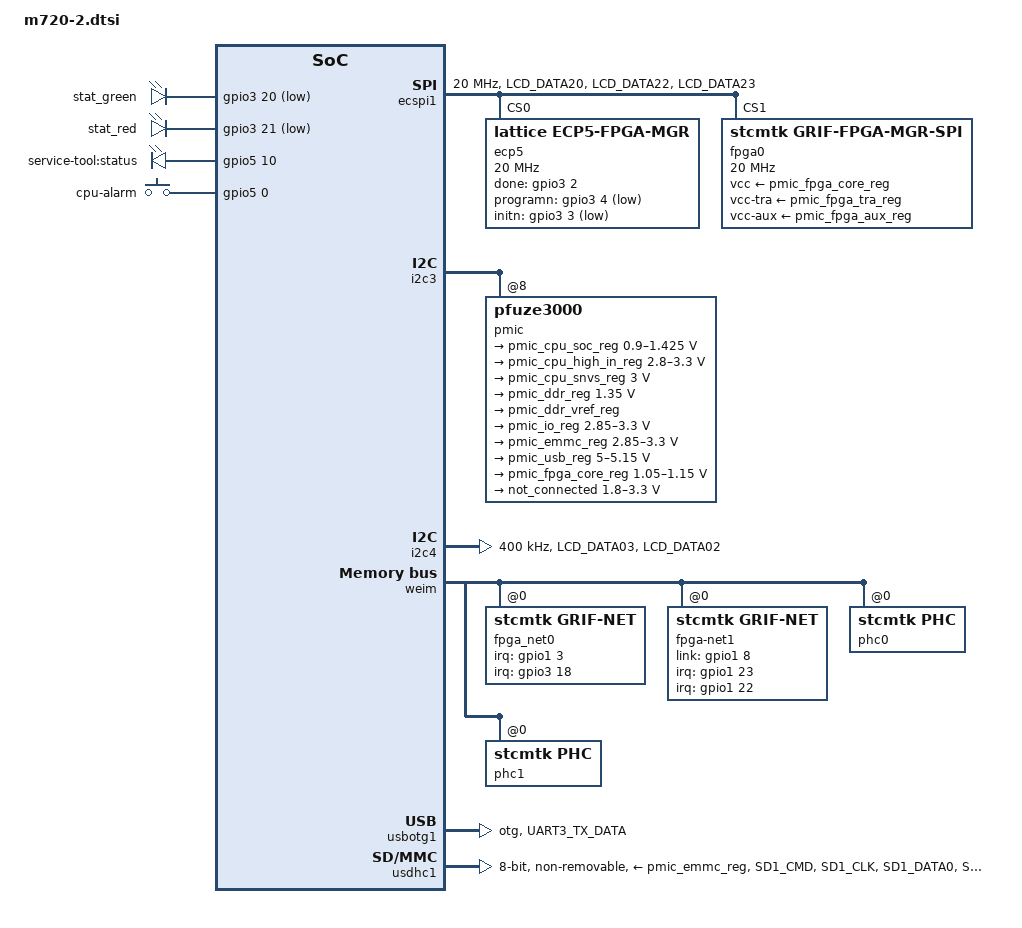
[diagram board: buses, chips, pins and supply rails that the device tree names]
/dts-v1/;

#include "m720.dtsi"

/ {
	leds {
		green_led {
			pinctrl-names = "default";
			pinctrl-0 = <&pinctrl_green_led>;
			label = "stat_green";
			linux,default-trigger = "heartbeat";
			gpios = <&gpio3 20 GPIO_ACTIVE_LOW>;
			default-state = "off";
		};

		red_led {
			pinctrl-names = "default";
			pinctrl-0 = <&pinctrl_red_led>;
			label = "stat_red";
			linux,default-trigger = "none";
			gpios = <&gpio3 21 GPIO_ACTIVE_LOW>;
			default-state = "off";
			panic-indicator;
		};

		service_led {
			pinctrl-names = "default";
			pinctrl-0 = <&pinctrl_service_led>;
			label = "service-tool:status";
			linux,default-trigger = "default-on";
			gpios = <&gpio5 10 GPIO_ACTIVE_HIGH>;
			default-state = "on";
		};
	};

	key {
		compatible = "gpio-keys";

		alarm {
			pinctrl-names = "default";
			pinctrl-0 = <&pinctrl_alarm>;
			label = "cpu-alarm";
			linux,code = <KEY_WAKEUP>;
			gpios = <&gpio5 0 GPIO_ACTIVE_HIGH>;
			wakeup-source;
		};
	};

	fpgaio: fpga-io {
		compatible = "stcmtk,grif-io";
		target-fpga = <&fpga0>;
		status = "okay";
	};

	ecp5-hwmon {
		compatible = "lattice,ecp5-hwmon";
		target-fpga = <&fpga0>;
		label = "internal ECP5 temperature";
	};

	phc_mux: grif-phc-mux {
                compatible = "stcmtk,phc-mux";
                target-fpga = <&fpga0>;
        };
};

&reg_arm {
	vin-supply = <&pmic_cpu_soc_reg>;
	regulator-allow-bypass;
};

&reg_soc {
	vin-supply = <&pmic_cpu_soc_reg>;
	regulator-allow-bypass;
};

&reg_3p0 {
	vin-supply = <&pmic_cpu_snvs_reg>;
	regulator-allow-bypass;
};

&ecspi1 {
	pinctrl-names = "default";
	pinctrl-0 = <&pinctrl_ecspi1>;
	clock-frequency = <20000000>;
	status = "okay";
	fsl,spi-num-chipselects = <2>;
	/* Actually there is no CS muxed to the pin  because we need to
	 * drive CS manually from the Lattice ECP5 FPGA driver
	 * see pinmux definition for details
	 */
	cs-gpios = <0 0>;

	ecp5: ecp5@0 {
		pinctrl-names = "default";
		pinctrl-0 = <&pinctrl_ecp5 &pinctrl_ecp5_spi_cs>;
		compatible = "lattice,ecp5-fpga-mgr";
		status = "okay";
		spi-max-frequency = <20000000>;
		reg = <0>;
		cs-gpios = <&gpio3 26 GPIO_ACTIVE_LOW>;
		done-gpios = <&gpio3 2 GPIO_ACTIVE_HIGH>;
		programn-gpios = <&gpio3 4 GPIO_ACTIVE_LOW>;
		initn-gpios = <&gpio3 3 GPIO_ACTIVE_LOW>;
	};

	fpga0: fpga@1 {
		compatible = "stcmtk,grif-fpga-mgr-spi";
		fpga-name = "Main FPGA";
		spi-max-frequency = <20000000>;
		reg = <1>;
		status = "okay";
		cs-gpios = <&gpio3 26 GPIO_ACTIVE_HIGH>;
		ecp5-fpga-mgr = <&ecp5>;
		vcc-supply = <&pmic_fpga_core_reg>;
		vcc-tra-supply = <&pmic_fpga_tra_reg>;
		vcc-aux-supply = <&pmic_fpga_aux_reg>;
	};
};

/* System bus */
&i2c3 {
	pmic: pfuze3000@8 {
		regulators {
			/* 1V275_IMX_PMIC - test point P4 */
			pmic_cpu_soc_reg: sw1a {
				regulator-name = "pmic_cpu_soc_in";
				regulator-min-microvolt = <900000>;
				regulator-max-microvolt = <1425000>;
				regulator-boot-on;
				regulator-always-on;
			};

			/* CPU_HIGH_IN_3.3V_PMIC */
			pmic_cpu_high_in_reg: vldo3 {
				regulator-name = "pmic_cpu_high_in";
				regulator-min-microvolt = <2800000>;
				regulator-max-microvolt = <3300000>;
				regulator-boot-on;
				regulator-always-on;
			};

			/* CPU_SNVS_IN_3.3V_PMIC */
			pmic_cpu_snvs_reg: vsnvs {
				regulator-name = "pmic_cpu_snvs";
				regulator-min-microvolt = <3000000>;
				regulator-max-microvolt = <3000000>;
				regulator-boot-on;
				regulator-always-on;
			};

			/* 1V35_DDR_PMIC - test point P2 */
			pmic_ddr_reg: sw3 {
				regulator-name = "ddr_supply";
				regulator-min-microvolt = <1350000>;
				regulator-max-microvolt = <1350000>;
				regulator-boot-on;
				regulator-always-on;
			};

			/* VREF_DDR_PMIC - test point P1 */
			pmic_ddr_vref_reg: vrefddr {
				regulator-name = "ddr_ref";
				regulator-boot-on;
				regulator-always-on;
			};

			/* 3V3_IO */
			pmic_io_reg: v33 {
				regulator-name = "io_supply";
				regulator-min-microvolt = <2850000>;
				regulator-max-microvolt = <3300000>;
				regulator-boot-on;
				regulator-always-on;
			};

			/* 3V3_EMMC_PMIC */
			pmic_emmc_reg: vccsd {
				regulator-name = "emmc_supply";
				regulator-min-microvolt = <2850000>;
				regulator-max-microvolt = <3300000>;
				regulator-always-on;
			};

			/* 5V_PMIC - test point P3 */
			pmic_usb_reg: swbst {
				regulator-name = "cpu_usb";
				regulator-min-microvolt = <5000000>;
				regulator-max-microvolt = <5150000>;
				regulator-boot-on;
				/* CPU USB VBUS line does not connected to VBUS
				 * line on SSFP USB OTG port. So USB OTG can't
				 * be supplied from HOST in device mode. This
				 * regulator provides 5V supply for CPU VBUS and
				 * has to be always on to prevent USB OTG
				 * glitches. */
				regulator-always-on;
			};

			/* 1V1_FPGA - test point P7 */
			pmic_fpga_core_reg: sw1b {
				regulator-name = "fpga_vcc_vcca";
				regulator-min-microvolt = <1050000>;
				regulator-max-microvolt = <1150000>;
				regulator-boot-on;
			};

			/* Not connected */
			vldo4 {
				regulator-name = "not_connected";
				regulator-min-microvolt = <1800000>;
				regulator-max-microvolt = <3300000>;
			};
		};
	};
};

	/* NT25L90 laser driver bus */
&i2c4 {
	clock-frequency = <400000>;
	pinctrl-names = "default";
	pinctrl-0 = <&pinctrl_i2c4>;
	status = "okay";
};

&iomuxc {
	stcmtk-smart-sfp {
		pinctrl_hog_1: hoggrp-1 {
			fsl,pins = <
				/* ???: Not used by drivers, only for exporting to userspace */
				MX6UL_PAD_GPIO1_IO02__GPIO1_IO02 	0x000010B0 /* SDMA INT */
				/*MX6UL_PAD_GPIO1_IO02__SDMA_EXT_EVENT00  0x000010B0*/ /* SDMA INT */
			>;
		};

		pinctrl_net1: net1grp {
			fsl,pins = <
				MX6UL_PAD_GPIO1_IO03__GPIO1_IO03	0x000010B0 /* FPGA_INT 0 */
				MX6UL_PAD_LCD_DATA13__GPIO3_IO18	0x000010B0 /* FPGA_INT 1 */
				MX6UL_PAD_GPIO1_IO05__GPIO1_IO05	0x000010B0 /* FPGA_INT 2 */
			>;
		};

		pinctrl_net2: net2grp {
			fsl,pins = <
				MX6UL_PAD_UART2_RTS_B__GPIO1_IO23	0x000010B0 /* FPGA_INT 3 */
				MX6UL_PAD_UART2_CTS_B__GPIO1_IO22	0x000010B0 /* FPGA_INT 4 */
				MX6UL_PAD_GPIO1_IO08__GPIO1_IO08	0x000010B0 /* FPGA_INT 5 */
			>;
		};

		pinctrl_green_led: led1grp {
			fsl,pins = <
				MX6UL_PAD_LCD_DATA15__GPIO3_IO20	0x000010B0
			>;
		};

		pinctrl_red_led: led2grp {
			fsl,pins = <
				MX6UL_PAD_LCD_DATA16__GPIO3_IO21	0x000010B0
			>;
		};

		pinctrl_ecspi1: ecspi1grp {
			fsl,pins = <
			     /*
			      * This pin shoud be muxed in a separate group so that we can
			      * use it as a gpio. See below.
			      *
			      * MX6UL_PAD_LCD_DATA21__ECSPI1_SS0	0x000010A8
			      */
				MX6UL_PAD_LCD_DATA20__ECSPI1_SCLK	0x000010A8
				MX6UL_PAD_LCD_DATA22__ECSPI1_MOSI	0x000010A8
				MX6UL_PAD_LCD_DATA23__ECSPI1_MISO	0x000010A8
			>;
		};

		pinctrl_ecp5_spi_cs: ecp5-spi-cs-grp {
			/*
			 *  Here we mux PAD_LCD_DATA21__ECSPI1_SS0 (C16) to GPIO3_IO26 in place
			 *  of ECSPI1_SS0 to be able to drive CS. This is a workaround for
			 *  Lattice ECP5 FPGA Slave SPI programming algo, see Lattice
			 *  Programming Tools User Guide, ch. Slave SPI Embedded.
			 */
			fsl,pins = <
				MX6UL_PAD_LCD_DATA21__GPIO3_IO26	0x000010A8
			>;
		};

		pinctrl_ecp5: ecp5grp {
			fsl,pins = <
				MX6UL_PAD_LCD_HSYNC__GPIO3_IO02		0x000010B0 /* CPU_DONE */
				MX6UL_PAD_LCD_VSYNC__GPIO3_IO03		0x000010B0 /* CPU_INITN */
				MX6UL_PAD_LCD_RESET__GPIO3_IO04		0x000010B0 /* CPU_PROGRAMN */
			>;
		};

		pinctrl_i2c1: i2c1grp {
			fsl,pins = <
				MX6UL_PAD_UART4_RX_DATA__I2C1_SDA	0x4001B8B1
				MX6UL_PAD_UART4_TX_DATA__I2C1_SCL	0x4001B8B1
			>;
		};

		pinctrl_i2c3: i2c3grp {
			fsl,pins = <
				MX6UL_PAD_LCD_DATA01__I2C3_SCL		0x4001B8B1
				MX6UL_PAD_LCD_DATA00__I2C3_SDA		0x4001B8B1
			>;
		};

		pinctrl_i2c4: i2c4grp {
			fsl,pins = <
				MX6UL_PAD_LCD_DATA03__I2C4_SCL		0x4001B8B1
				MX6UL_PAD_LCD_DATA02__I2C4_SDA		0x4001B8B1
			>;
		};

		pinctrl_uart1: uart1grp {
			fsl,pins = <
				MX6UL_PAD_UART1_RX_DATA__UART1_DCE_RX	0x000010B0
				MX6UL_PAD_UART1_TX_DATA__UART1_DCE_TX	0x000010B0
			>;
		};

		pinctrl_emmc: emmcgrp {
			fsl,pins = <
				MX6UL_PAD_SD1_CMD__USDHC1_CMD		0x17059
				MX6UL_PAD_SD1_CLK__USDHC1_CLK		0x10059
				MX6UL_PAD_SD1_DATA0__USDHC1_DATA0	0x17059
				MX6UL_PAD_SD1_DATA1__USDHC1_DATA1	0x17059
				MX6UL_PAD_SD1_DATA2__USDHC1_DATA2	0x17059
				MX6UL_PAD_SD1_DATA3__USDHC1_DATA3	0x17059
				MX6UL_PAD_NAND_READY_B__USDHC1_DATA4	0x17059
				MX6UL_PAD_NAND_CE0_B__USDHC1_DATA5	0x17059
				MX6UL_PAD_NAND_CE1_B__USDHC1_DATA6	0x17059
				MX6UL_PAD_NAND_CLE__USDHC1_DATA7	0x17059
			>;
		};

		pinctrl_emmc_100: emmc_100grp {
			fsl,pins = <
				MX6UL_PAD_SD1_CMD__USDHC1_CMD		0x170b9
				MX6UL_PAD_SD1_CLK__USDHC1_CLK		0x100b9
				MX6UL_PAD_SD1_DATA0__USDHC1_DATA0	0x170b9
				MX6UL_PAD_SD1_DATA1__USDHC1_DATA1	0x170b9
				MX6UL_PAD_SD1_DATA2__USDHC1_DATA2	0x170b9
				MX6UL_PAD_SD1_DATA3__USDHC1_DATA3	0x170b9
				MX6UL_PAD_NAND_READY_B__USDHC1_DATA4	0x170b9
				MX6UL_PAD_NAND_CE0_B__USDHC1_DATA5	0x170b9
				MX6UL_PAD_NAND_CE1_B__USDHC1_DATA6	0x170b9
				MX6UL_PAD_NAND_CLE__USDHC1_DATA7	0x170b9
			>;
		};

		pinctrl_emmc_200: emmc_200grp {
			fsl,pins = <
				MX6UL_PAD_SD1_CMD__USDHC1_CMD		0x170f9
				MX6UL_PAD_SD1_CLK__USDHC1_CLK		0x100f9
				MX6UL_PAD_SD1_DATA0__USDHC1_DATA0	0x170f9
				MX6UL_PAD_SD1_DATA1__USDHC1_DATA1	0x170f9
				MX6UL_PAD_SD1_DATA2__USDHC1_DATA2	0x170f9
				MX6UL_PAD_SD1_DATA3__USDHC1_DATA3	0x170f9
				MX6UL_PAD_NAND_READY_B__USDHC1_DATA4	0x170f9
				MX6UL_PAD_NAND_CE0_B__USDHC1_DATA5	0x170f9
				MX6UL_PAD_NAND_CE1_B__USDHC1_DATA6	0x170f9
				MX6UL_PAD_NAND_CLE__USDHC1_DATA7	0x170f9
			>;
		};

		pinctrl_emmc_rst: emmc_rst_grp {
			fsl,pins = <
				MX6UL_PAD_GPIO1_IO04__USDHC1_RESET_B	0x17059
			/*	MX6UL_PAD_GPIO1_IO04__GPIO1_IO4		0x17059 */
			>;
		};

		pinctrl_weim: weimgrp {
			fsl,pins = <
				MX6UL_PAD_CSI_DATA00__EIM_AD00		0x000010E9
				MX6UL_PAD_CSI_DATA01__EIM_AD01		0x000010E9
				MX6UL_PAD_CSI_DATA02__EIM_AD02		0x000010E9
				MX6UL_PAD_CSI_DATA03__EIM_AD03		0x000010E9
				MX6UL_PAD_CSI_DATA04__EIM_AD04		0x000010E9
				MX6UL_PAD_CSI_DATA05__EIM_AD05		0x000010E9
				MX6UL_PAD_CSI_DATA06__EIM_AD06		0x000010E9
				MX6UL_PAD_CSI_DATA07__EIM_AD07		0x000010E9
				MX6UL_PAD_CSI_HSYNC__EIM_LBA_B		0x000010E9
				MX6UL_PAD_CSI_MCLK__EIM_CS0_B		0x000010E9
				MX6UL_PAD_CSI_PIXCLK__EIM_OE		0x000010E9
				MX6UL_PAD_CSI_VSYNC__EIM_RW		0x000010E9
				MX6UL_PAD_NAND_DATA00__EIM_AD08		0x000010E9
				MX6UL_PAD_NAND_DATA01__EIM_AD09		0x000010E9
				MX6UL_PAD_NAND_DATA02__EIM_AD10		0x000010E9
				MX6UL_PAD_NAND_DATA03__EIM_AD11		0x000010E9
				MX6UL_PAD_NAND_DATA04__EIM_AD12		0x000010E9
				MX6UL_PAD_NAND_DATA05__EIM_AD13		0x000010E9
				MX6UL_PAD_NAND_DATA06__EIM_AD14		0x000010E9
				MX6UL_PAD_NAND_DATA07__EIM_AD15		0x000010E9
				MX6UL_PAD_NAND_DQS__EIM_WAIT		0x000010E9
				MX6UL_PAD_NAND_WP_B__EIM_BCLK		0x000010E9
			>;
		};

		pinctrl_usbotg1: usbotg1grp {
			fsl,pins = <
				MX6UL_PAD_UART3_TX_DATA__ANATOP_OTG1_ID 0x00017059
			>;
		};

		pinctrl_userswitch: userswitchgrp {
			fsl,pins = <
				MX6UL_PAD_LCD_DATA10__GPIO3_IO15	0x000010B0
				MX6UL_PAD_LCD_DATA11__GPIO3_IO16	0x000010B0
			>;
		};
	};
};

&iomuxc_snvs {
	stcmtk-smart-sfp-snvs {
		pinctrl_service_led: snvs_service_led_grp {
			fsl,pins = <
				MX6UL_PAD_BOOT_MODE0__GPIO5_IO10	0x000128A0
			>;

		};

		pinctrl_alarm: snvs_alarm_grp {
			fsl,pins = <
				MX6UL_PAD_SNVS_TAMPER0__GPIO5_IO00	0x000110A0
			>;

		};
	};
};

&weim {
	fpga_net0: fpga-net0 {
		compatible = "stcmtk,grif-net";
		target-fpga = <&fpga0>;
		pinctrl-names = "default";
		pinctrl-0 = <&pinctrl_net1>;
		reg = <0 0x4000 0x8000>; /* EIM addr range for CPUBUF (port 0) */

		/* CS0 Configuration registers:
			CSxGCR1, CSxGCR2, CSxRCR1,
			CSxRCR2, CSxWCR1, CSxWCR2 */
		fsl,weim-cs-timing = <0x511104AF 0x00001000 0x04000000
				      0x00000000 0x01000000 0x00000000>;

		mac-address = [02 00 00 44 00 02];
		port-num = <0>;
		interrupts-extended = <&gpio1 3  IRQ_TYPE_EDGE_RISING>, /* FPGA_INT0 - TX */
				      <&gpio3 18 IRQ_TYPE_LEVEL_HIGH>; /* FPGA_INT1 - RX */

		phc-mux = <&phc_mux>;
	};

	fpga-net1 {
		compatible = "stcmtk,grif-net";
		target-fpga = <&fpga0>;
		pinctrl-names = "default";
		pinctrl-0 = <&pinctrl_net2>;
		reg = <0 0xc000 0x8000>; /* EIM addr range for CPUBUF (port 1) */

		/* CS0 Configuration registers:
			CSxGCR1, CSxGCR2, CSxRCR1,
			CSxRCR2, CSxWCR1, CSxWCR2 */
		fsl,weim-cs-timing = <0x511104AF 0x00001000 0x04000000
				      0x00000000 0x01000000 0x00000000>;

		mac-address = [02 00 00 44 00 03];
		port-num = <1>;
		interrupts-extended = <&gpio1 23 IRQ_TYPE_EDGE_RISING>, /* FPGA_INT3 - TX */
				      <&gpio1 22 IRQ_TYPE_LEVEL_HIGH>; /* FPGA_INT4 - RX */

		phy-mode = "internal";
		phc-mux = <&phc_mux>;

		link-gpios = <&gpio1 8 GPIO_ACTIVE_HIGH>; /* FPGA_INT5 - Link state */

		fixed-link {
			speed = <1000>;
			full-duplex;
		};
	};

	phc0: grif-phc@0 {
                compatible = "stcmtk,phc";
                stcmtk,port-num = <0>;
                target-fpga = <&fpga0>;
                bus-type = "eim";
                reg = <0 0x0 0x1e>, /* CR reg port 0 */
                      <0 0x3c 0xc>, /* SR reg port 0 */
                      <0 0x0 0x1e>,
                      <0 0x1e 0xc>;
                reg-names = "reg-cr", "reg-sr",
                            "alt-reg-cr", "alt-reg-sr";
        };

	phc1: grif-phc@1 {
                compatible = "stcmtk,phc";
                stcmtk,port-num = <1>;
                target-fpga = <&fpga0>;
                bus-type = "eim";
                reg = <0 0x1e 0x1e>, /* CR reg port 1 */
                      <0 0x48 0xc>,  /* SR reg port 1 */
                      <0 0x0 0x1e>,
                      <0 0x1e 0xc>;
                reg-names = "reg-cr", "reg-sr",
                            "alt-reg-cr", "alt-reg-sr";
        };
};

&usbotg1 {
	pinctrl-names = "default";
	pinctrl-0 = <&pinctrl_usbotg1>;
	/* CPU USB VBUS line does not connected to VBUS line on SSFP USB OTG
	 * port. So "vbus-supply" line can't supply external USB device in host
	 * mode and USB driver doesn't have to handle PMIC VBUS supplier. */ 
	/* vbus-supply = <&pmic_usb_reg>; */
	dr_mode = "otg";
	srp-disable;
	hnp-disable;
	adp-disable;
	disable-overcurrent;
	status = "okay";
};

&usdhc1 {
	pinctrl-names = "default", "state_100mhz", "state_200mhz";
	pinctrl-0 = <&pinctrl_emmc &pinctrl_emmc_rst>;
	pinctrl-1 = <&pinctrl_emmc_100 &pinctrl_emmc_rst>;
	pinctrl-2 = <&pinctrl_emmc_200 &pinctrl_emmc_rst>;
	vmmc-supply = <&pmic_emmc_reg>;
	bus-width = <8>;
	no-1-8-v;
	non-removable;
	status = "okay";
};
